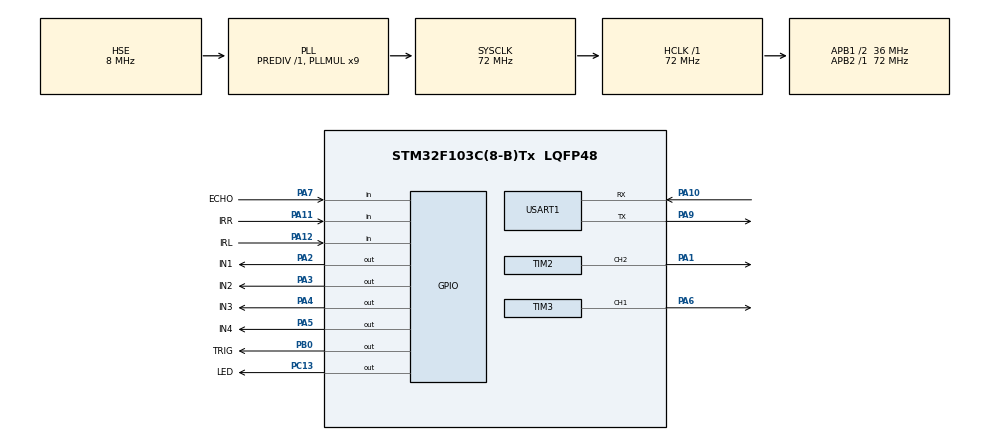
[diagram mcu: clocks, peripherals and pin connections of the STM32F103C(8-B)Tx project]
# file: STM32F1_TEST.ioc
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Mcu.Family=STM32F1
RCC.PLLSourceVirtual=RCC_PLLSOURCE_HSE
PD1-OSC_OUT.Mode=HSE-External-Oscillator
PA10.Mode=Asynchronous
PC13-TAMPER-RTC.Signal=GPIO_Output
PA11.GPIO_Label=IRR
PB0.GPIO_Label=TRIG
PA11.GPIO_PuPd=GPIO_PULLUP
PD0-OSC_IN.Signal=RCC_OSC_IN
TIM2.Channel-PWM\ Generation2\ CH2=TIM_CHANNEL_2
RCC.APB1CLKDivider=RCC_HCLK_DIV2
PA12.GPIO_Label=IRL
RCC.SYSCLKSource=RCC_SYSCLKSOURCE_PLLCLK
ProjectManager.StackSize=0x400
PD1-OSC_OUT.Signal=RCC_OSC_OUT
RCC.ADCPresc=RCC_ADCPCLK2_DIV6
PA13.Signal=SYS_JTMS-SWDIO
SH.S_TIM2_CH2.0=TIM2_CH2,PWM Generation2 CH2
PA9.Mode=Asynchronous
PA12.Signal=GPIO_Input
TIM1.Prescaler=72-1
ProjectManager.TargetToolchain=MDK-ARM V5.27
RCC.HCLKFreq_Value=72000000
RCC.APB2TimFreq_Value=72000000
TIM3.Period=0xffff-1
PA9.Signal=USART1_TX
RCC.USBFreq_Value=72000000
PA1.Signal=S_TIM2_CH2
PA7.GPIO_PuPd=GPIO_PULLDOWN
RCC.AHBFreq_Value=72000000
TIM3.Channel-PWM\ Generation1\ CH1=TIM_CHANNEL_1
PD0-OSC_IN.Mode=HSE-External-Oscillator
PA5.Signal=GPIO_Output
board=custom
PC13-TAMPER-RTC.GPIO_Label=LED
RCC.PLLMUL=RCC_PLL_MUL9
RCC.APB2Freq_Value=72000000
VP_TIM2_VS_ClockSourceINT.Mode=Internal
PA14.Mode=Serial_Wire
TIM3.Prescaler=72-1
SH.S_TIM3_CH1.0=TIM3_CH1,PWM Generation1 CH1
TIM2.Period=0xffff-1
PA13.Mode=Serial_Wire
Mcu.Name=STM32F103C(8-B)Tx
VP_TIM1_VS_ClockSourceINT.Mode=Internal
PA2.Signal=GPIO_Output
PA4.Signal=GPIO_Output
RCC.SYSCLKFreq_VALUE=72000000
Mcu.Package=LQFP48
TIM2.Prescaler=72-1
PA6.Signal=S_TIM3_CH1
PA7.GPIO_Label=ECHO
PA5.GPIO_Label=IN4
USART1.VirtualMode=VM_ASYNC
PA2.GPIO_Label=IN1
PA11.Signal=GPIO_Input
PA10.Signal=USART1_RX
PA14.Signal=SYS_JTCK-SWCLK
ProjectManager.HeapSize=0x200
NVIC.PriorityGroup=NVIC_PRIORITYGROUP_4
RCC.APB1TimFreq_Value=72000000
TIM1.Period=1000
NVIC.USART1_IRQn=true\:0\:0\:false\:false\:true\:true\:true
PA12.GPIO_PuPd=GPIO_PULLUP
RCC.APB1Freq_Value=36000000
PB0.Signal=GPIO_Output
PA4.GPIO_Label=IN3
VP_TIM3_VS_ClockSourceINT.Mode=Internal
PA3.GPIO_Label=IN2
PA3.Signal=GPIO_Output
PA7.Signal=GPIO_Input

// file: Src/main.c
/* USER CODE BEGIN Header */
/**
  ******************************************************************************
  * @file           : main.c
  * @brief          : Main program body
  ******************************************************************************
  * @attention
  *
  * <h2><center>&copy; Copyright (c) 2020 STMicroelectronics.
  * All rights reserved.</center></h2>
  *
  * This software component is licensed by ST under BSD 3-Clause license,
  * the "License"; You may not use this file except in compliance with the
  * License. You may obtain a copy of the License at:
  *                        opensource.org/licenses/BSD-3-Clause
  *
  ******************************************************************************
  */
/* USER CODE END Header */

#include "main.h"

/* USER CODE BEGIN Includes */
#include "dsp_coeffs.h"
/* USER CODE END Includes */

/* USER CODE BEGIN PTD */
#define SERVO_LEFT  95//125
#define SERVO_MID   70
#define SERVO_RIGHT 50//20

#define LEFT_TIME   75
#define RIGHT_TIME  75
#define STOP_TIME   50
#define BACK_TIME   100
/* USER CODE END PTD */

TIM_HandleTypeDef htim1;
TIM_HandleTypeDef htim2;
TIM_HandleTypeDef htim3;

UART_HandleTypeDef huart1;

/* USER CODE BEGIN PV */
float front_d, left_d, right_d;
volatile uint8_t rx_char, pre_char;
uint16_t speed;
/* USER CODE END PV */

void SystemClock_Config(void);
static void MX_GPIO_Init(void);
static void MX_TIM2_Init(void);
static void MX_TIM3_Init(void);
static void MX_USART1_UART_Init(void);
static void MX_TIM1_Init(void);

/* USER CODE BEGIN 0 */
void delay_us(uint32_t us)
{
	__HAL_TIM_SET_COUNTER(&htim1, 0);
	while((__HAL_TIM_GET_COUNTER(&htim1)) < us);
}

float ultrasonic_read()
{
	uint32_t local_time = 0;
	uint32_t time_out   = 100000;
	float dist;

	HAL_GPIO_WritePin(TRIG_GPIO_Port, TRIG_Pin, GPIO_PIN_RESET);  // pull the TRIG pin HIGH
	delay_us(2);  // wait for 2 us
	HAL_GPIO_WritePin(TRIG_GPIO_Port, TRIG_Pin, GPIO_PIN_SET);  // pull the TRIG pin HIGH
	delay_us(10);  // wait for 10 us
	HAL_GPIO_WritePin(TRIG_GPIO_Port, TRIG_Pin, GPIO_PIN_RESET);  // pull the TRIG pin low

	// read the time for which the pin is high
	while (!(HAL_GPIO_ReadPin(ECHO_GPIO_Port, ECHO_Pin))) // wait for the ECHO pin to go high
	{
		if (time_out-- == 0)
		{
			return 9999.0f;
		}
	}
	while (HAL_GPIO_ReadPin(ECHO_GPIO_Port, ECHO_Pin))    // while the pin is high
	{
		local_time++;   // measure time for which the pin is high
		delay_us(1);
	}
	dist = (float)local_time * .034f;
	return dist;
}

void motor_control(GPIO_PinState in1, GPIO_PinState in2, GPIO_PinState in3, GPIO_PinState in4)
{
  HAL_GPIO_WritePin(IN1_GPIO_Port, IN1_Pin, in1);
	HAL_GPIO_WritePin(IN2_GPIO_Port, IN2_Pin, in2);

	HAL_GPIO_WritePin(IN3_GPIO_Port, IN3_Pin, in3);
  HAL_GPIO_WritePin(IN4_GPIO_Port, IN4_Pin, in4);
}

void motor_speed(uint16_t speed)
{
	htim2.Instance->CCR2 = (uint32_t)(((float)speed/100.0f) * 65535.0f);
	htim3.Instance->CCR1 = (uint32_t)(((float)speed/100.0f) * 65535.0f * (0.9f));
}

void robot_mover(dc_control_t dir)
{
	switch(dir)
	{
		case STOP:
			motor_control(0, 0, 0, 0);
		  break;
		case FORWARD:
			motor_control(1, 0, 1, 0);
		  break;
		case BACKWARD:
			motor_control(0, 1, 0, 1);
		  break;
		case LEFT_FORWARD:
			motor_control(0, 0, 1, 0);
			break;
		case RIGHT_FORWARD:
			motor_control(1, 0, 0, 0);
			break;
		case LEFT_STAND:
			motor_control(0, 1, 1, 0);
			break;
		case RIGHT_STAND:
			motor_control(1, 0, 0, 1);
			break;
		case LEFT_BACK:
			motor_control(0, 0, 0, 1);
			break;
		case RIGHT_BACK:
			motor_control(0, 1, 0, 0);
		  break;
		default:
			dir = STOP;
	}
}

void auto_mode(void)
{
	GPIO_PinState left_ir  = HAL_GPIO_ReadPin(IRL_GPIO_Port, IRL_Pin);
	GPIO_PinState right_ir = HAL_GPIO_ReadPin(IRR_GPIO_Port, IRR_Pin);
	if(left_ir && right_ir)
	{
	front_d = ultrasonic_read();
	if (front_d > 25.0)
		robot_mover(FORWARD);
	else
	{
		robot_mover(STOP);
		robot_delay(STOP_TIME);

		robot_mover(LEFT_STAND);
		robot_delay(LEFT_TIME);
		robot_mover(STOP);
		robot_delay(STOP_TIME);
		left_d  = ultrasonic_read(); // nhin ben trai
		robot_mover(RIGHT_STAND);
		robot_delay(RIGHT_TIME);
		robot_mover(STOP);
		robot_delay(STOP_TIME);

		robot_mover(RIGHT_STAND);
		robot_delay(RIGHT_TIME);
		robot_mover(STOP);
		robot_delay(STOP_TIME);
		right_d = ultrasonic_read(); // nhin ben phai
		robot_mover(LEFT_STAND);
		robot_delay(LEFT_TIME);
		robot_mover(STOP);
		robot_delay(STOP_TIME);

		if (left_d > right_d)
		{
			robot_mover(LEFT_STAND);
			robot_delay(LEFT_TIME);
			robot_mover(STOP);
			robot_delay(STOP_TIME);
		}
		else
		{
			robot_mover(RIGHT_STAND);
      robot_delay(RIGHT_TIME);
			robot_mover(STOP);
			robot_delay(STOP_TIME);
		}
	}
  }
	else
	{
		if((!left_ir) && right_ir)
		{
			robot_mover(RIGHT_STAND);
			robot_delay(RIGHT_TIME);
		}
		else if(left_ir && (!right_ir))
		{
			robot_mover(LEFT_STAND);
			robot_delay(LEFT_TIME);
		}
		else if((!left_ir) && (!right_ir))
		{
			robot_mover(BACKWARD);
			robot_delay(BACK_TIME);
		}
	}
}

void HAL_UART_RxCpltCallback(UART_HandleTypeDef *huart)
{
	if(huart->Instance == USART1)
	{
		HAL_GPIO_TogglePin(GPIOC, GPIO_PIN_13);
  }
	HAL_UART_Receive_IT(&huart1, (uint8_t*)&rx_char, 1);
}

void robot_delay(uint16_t delay)
{
	uint32_t milisec = (uint32_t)((float)delay * (100.0f / (float)speed));
	while((milisec--))
	  HAL_Delay(1);
}
/* USER CODE END 0 */

int main(void)
{

  /* MCU Configuration--------------------------------------------------------*/

  /* Reset of all peripherals, Initializes the Flash interface and the Systick. */
  HAL_Init();

  /* Configure the system clock */
  SystemClock_Config();

  /* Initialize all configured peripherals */
  MX_GPIO_Init();
  MX_TIM2_Init();
  MX_TIM3_Init();
  MX_USART1_UART_Init();
  MX_TIM1_Init();
  /* USER CODE BEGIN 2 */
	HAL_UART_Receive_IT(&huart1, (uint8_t*)&rx_char, 1);
	HAL_TIM_Base_Start(&htim1); // delay us
	HAL_TIM_PWM_Start(&htim2,TIM_CHANNEL_2); // ENA
	HAL_TIM_PWM_Start(&htim3,TIM_CHANNEL_1); // ENB

	speed = 50;
  /* USER CODE END 2 */

  /* Infinite loop */
  /* USER CODE BEGIN WHILE */
  while (1)
  {
		motor_speed(speed);
		if((rx_char < MOT) || (rx_char > BON))
			pre_char = rx_char;

    switch (rx_char)
		{
			case UNKNOWN:
				robot_mover(STOP);
				continue;
			case TOI:
				robot_mover(FORWARD);
				continue;
			case LUI:
				robot_mover(BACKWARD);
				continue;
			case TRAI:
				robot_mover(LEFT_STAND);
				robot_delay(100);
			  rx_char = UNKNOWN;
				continue;
			case PHAI:
				robot_mover(RIGHT_STAND);
			  robot_delay(100);
			  rx_char = UNKNOWN;
				continue;
			case DUNG:
				robot_mover(STOP);
				continue;
			case MOT:
				speed = 25;
			  rx_char = pre_char;
				continue;
			case HAI:
				speed = 50;
			  rx_char = pre_char;
				continue;
			case BA:
				speed = 75;
			  rx_char = pre_char;
				continue;
			case BON:
				speed = 100;
			  rx_char = pre_char;
				continue;
			case TUDONG:
				auto_mode();
				continue;
			default:
				robot_mover(STOP);
			  continue;
		}

    /* USER CODE END WHILE */

  }
}

void SystemClock_Config(void)
{
  RCC_OscInitTypeDef RCC_OscInitStruct = {0};
  RCC_ClkInitTypeDef RCC_ClkInitStruct = {0};

  /** Initializes the CPU, AHB and APB busses clocks
  */
  RCC_OscInitStruct.OscillatorType = RCC_OSCILLATORTYPE_HSE;
  RCC_OscInitStruct.HSEState = RCC_HSE_ON;
  RCC_OscInitStruct.HSEPredivValue = RCC_HSE_PREDIV_DIV1;
  RCC_OscInitStruct.HSIState = RCC_HSI_ON;
  RCC_OscInitStruct.PLL.PLLState = RCC_PLL_ON;
  RCC_OscInitStruct.PLL.PLLSource = RCC_PLLSOURCE_HSE;
  RCC_OscInitStruct.PLL.PLLMUL = RCC_PLL_MUL9;
  if (HAL_RCC_OscConfig(&RCC_OscInitStruct) != HAL_OK)
  {
    Error_Handler();
  }
  /** Initializes the CPU, AHB and APB busses clocks
  */
  RCC_ClkInitStruct.ClockType = RCC_CLOCKTYPE_HCLK|RCC_CLOCKTYPE_SYSCLK
                              |RCC_CLOCKTYPE_PCLK1|RCC_CLOCKTYPE_PCLK2;
  RCC_ClkInitStruct.SYSCLKSource = RCC_SYSCLKSOURCE_PLLCLK;
  RCC_ClkInitStruct.AHBCLKDivider = RCC_SYSCLK_DIV1;
  RCC_ClkInitStruct.APB1CLKDivider = RCC_HCLK_DIV2;
  RCC_ClkInitStruct.APB2CLKDivider = RCC_HCLK_DIV1;

  if (HAL_RCC_ClockConfig(&RCC_ClkInitStruct, FLASH_LATENCY_2) != HAL_OK)
  {
    Error_Handler();
  }
}

static void MX_TIM1_Init(void)
{

  TIM_ClockConfigTypeDef sClockSourceConfig = {0};
  TIM_MasterConfigTypeDef sMasterConfig = {0};

  htim1.Instance = TIM1;
  htim1.Init.Prescaler = 72-1;
  htim1.Init.CounterMode = TIM_COUNTERMODE_UP;
  htim1.Init.Period = 1000;
  htim1.Init.ClockDivision = TIM_CLOCKDIVISION_DIV1;
  htim1.Init.RepetitionCounter = 0;
  htim1.Init.AutoReloadPreload = TIM_AUTORELOAD_PRELOAD_DISABLE;
  if (HAL_TIM_Base_Init(&htim1) != HAL_OK)
  {
    Error_Handler();
  }
  sClockSourceConfig.ClockSource = TIM_CLOCKSOURCE_INTERNAL;
  if (HAL_TIM_ConfigClockSource(&htim1, &sClockSourceConfig) != HAL_OK)
  {
    Error_Handler();
  }
  sMasterConfig.MasterOutputTrigger = TIM_TRGO_RESET;
  sMasterConfig.MasterSlaveMode = TIM_MASTERSLAVEMODE_DISABLE;
  if (HAL_TIMEx_MasterConfigSynchronization(&htim1, &sMasterConfig) != HAL_OK)
  {
    Error_Handler();
  }

}

static void MX_TIM2_Init(void)
{

  TIM_ClockConfigTypeDef sClockSourceConfig = {0};
  TIM_MasterConfigTypeDef sMasterConfig = {0};
  TIM_OC_InitTypeDef sConfigOC = {0};

  htim2.Instance = TIM2;
  htim2.Init.Prescaler = 72-1;
  htim2.Init.CounterMode = TIM_COUNTERMODE_UP;
  htim2.Init.Period = 0xffff-1;
  htim2.Init.ClockDivision = TIM_CLOCKDIVISION_DIV1;
  htim2.Init.AutoReloadPreload = TIM_AUTORELOAD_PRELOAD_DISABLE;
  if (HAL_TIM_Base_Init(&htim2) != HAL_OK)
  {
    Error_Handler();
  }
  sClockSourceConfig.ClockSource = TIM_CLOCKSOURCE_INTERNAL;
  if (HAL_TIM_ConfigClockSource(&htim2, &sClockSourceConfig) != HAL_OK)
  {
    Error_Handler();
  }
  if (HAL_TIM_PWM_Init(&htim2) != HAL_OK)
  {
    Error_Handler();
  }
  sMasterConfig.MasterOutputTrigger = TIM_TRGO_RESET;
  sMasterConfig.MasterSlaveMode = TIM_MASTERSLAVEMODE_DISABLE;
  if (HAL_TIMEx_MasterConfigSynchronization(&htim2, &sMasterConfig) != HAL_OK)
  {
    Error_Handler();
  }
  sConfigOC.OCMode = TIM_OCMODE_PWM1;
  sConfigOC.Pulse = 0;
  sConfigOC.OCPolarity = TIM_OCPOLARITY_HIGH;
  sConfigOC.OCFastMode = TIM_OCFAST_DISABLE;
  if (HAL_TIM_PWM_ConfigChannel(&htim2, &sConfigOC, TIM_CHANNEL_2) != HAL_OK)
  {
    Error_Handler();
  }
  HAL_TIM_MspPostInit(&htim2);

}

static void MX_TIM3_Init(void)
{

  TIM_ClockConfigTypeDef sClockSourceConfig = {0};
  TIM_MasterConfigTypeDef sMasterConfig = {0};
  TIM_OC_InitTypeDef sConfigOC = {0};

  htim3.Instance = TIM3;
  htim3.Init.Prescaler = 72-1;
  htim3.Init.CounterMode = TIM_COUNTERMODE_UP;
  htim3.Init.Period = 0xffff-1;
  htim3.Init.ClockDivision = TIM_CLOCKDIVISION_DIV1;
  htim3.Init.AutoReloadPreload = TIM_AUTORELOAD_PRELOAD_DISABLE;
  if (HAL_TIM_Base_Init(&htim3) != HAL_OK)
  {
    Error_Handler();
  }
  sClockSourceConfig.ClockSource = TIM_CLOCKSOURCE_INTERNAL;
  if (HAL_TIM_ConfigClockSource(&htim3, &sClockSourceConfig) != HAL_OK)
  {
    Error_Handler();
  }
  if (HAL_TIM_PWM_Init(&htim3) != HAL_OK)
  {
    Error_Handler();
  }
  sMasterConfig.MasterOutputTrigger = TIM_TRGO_RESET;
  sMasterConfig.MasterSlaveMode = TIM_MASTERSLAVEMODE_DISABLE;
  if (HAL_TIMEx_MasterConfigSynchronization(&htim3, &sMasterConfig) != HAL_OK)
  {
    Error_Handler();
  }
  sConfigOC.OCMode = TIM_OCMODE_PWM1;
  sConfigOC.Pulse = 0;
  sConfigOC.OCPolarity = TIM_OCPOLARITY_HIGH;
  sConfigOC.OCFastMode = TIM_OCFAST_DISABLE;
  if (HAL_TIM_PWM_ConfigChannel(&htim3, &sConfigOC, TIM_CHANNEL_1) != HAL_OK)
  {
    Error_Handler();
  }
  HAL_TIM_MspPostInit(&htim3);

}

static void MX_USART1_UART_Init(void)
{

  huart1.Instance = USART1;
  huart1.Init.BaudRate = 115200;
  huart1.Init.WordLength = UART_WORDLENGTH_8B;
  huart1.Init.StopBits = UART_STOPBITS_1;
  huart1.Init.Parity = UART_PARITY_NONE;
  huart1.Init.Mode = UART_MODE_TX_RX;
  huart1.Init.HwFlowCtl = UART_HWCONTROL_NONE;
  huart1.Init.OverSampling = UART_OVERSAMPLING_16;
  if (HAL_UART_Init(&huart1) != HAL_OK)
  {
    Error_Handler();
  }

}

static void MX_GPIO_Init(void)
{
  GPIO_InitTypeDef GPIO_InitStruct = {0};

  /* GPIO Ports Clock Enable */
  __HAL_RCC_GPIOC_CLK_ENABLE();
  __HAL_RCC_GPIOD_CLK_ENABLE();
  __HAL_RCC_GPIOA_CLK_ENABLE();
  __HAL_RCC_GPIOB_CLK_ENABLE();

  /*Configure GPIO pin Output Level */
  HAL_GPIO_WritePin(LED_GPIO_Port, LED_Pin, GPIO_PIN_RESET);

  /*Configure GPIO pin Output Level */
  HAL_GPIO_WritePin(GPIOA, IN1_Pin|IN2_Pin|IN3_Pin|IN4_Pin, GPIO_PIN_RESET);

  /*Configure GPIO pin Output Level */
  HAL_GPIO_WritePin(TRIG_GPIO_Port, TRIG_Pin, GPIO_PIN_RESET);

  /*Configure GPIO pin : LED_Pin */
  GPIO_InitStruct.Pin = LED_Pin;
  GPIO_InitStruct.Mode = GPIO_MODE_OUTPUT_PP;
  GPIO_InitStruct.Pull = GPIO_NOPULL;
  GPIO_InitStruct.Speed = GPIO_SPEED_FREQ_LOW;
  HAL_GPIO_Init(LED_GPIO_Port, &GPIO_InitStruct);

  /*Configure GPIO pins : IN1_Pin IN2_Pin IN3_Pin IN4_Pin */
  GPIO_InitStruct.Pin = IN1_Pin|IN2_Pin|IN3_Pin|IN4_Pin;
  GPIO_InitStruct.Mode = GPIO_MODE_OUTPUT_PP;
  GPIO_InitStruct.Pull = GPIO_NOPULL;
  GPIO_InitStruct.Speed = GPIO_SPEED_FREQ_LOW;
  HAL_GPIO_Init(GPIOA, &GPIO_InitStruct);

  /*Configure GPIO pin : ECHO_Pin */
  GPIO_InitStruct.Pin = ECHO_Pin;
  GPIO_InitStruct.Mode = GPIO_MODE_INPUT;
  GPIO_InitStruct.Pull = GPIO_PULLDOWN;
  HAL_GPIO_Init(ECHO_GPIO_Port, &GPIO_InitStruct);

  /*Configure GPIO pin : TRIG_Pin */
  GPIO_InitStruct.Pin = TRIG_Pin;
  GPIO_InitStruct.Mode = GPIO_MODE_OUTPUT_PP;
  GPIO_InitStruct.Pull = GPIO_NOPULL;
  GPIO_InitStruct.Speed = GPIO_SPEED_FREQ_LOW;
  HAL_GPIO_Init(TRIG_GPIO_Port, &GPIO_InitStruct);

  /*Configure GPIO pins : IRR_Pin IRL_Pin */
  GPIO_InitStruct.Pin = IRR_Pin|IRL_Pin;
  GPIO_InitStruct.Mode = GPIO_MODE_INPUT;
  GPIO_InitStruct.Pull = GPIO_PULLUP;
  HAL_GPIO_Init(GPIOA, &GPIO_InitStruct);

}

void Error_Handler(void)
{
}

/************************ (C) COPYRIGHT STMicroelectronics *****END OF FILE****/
